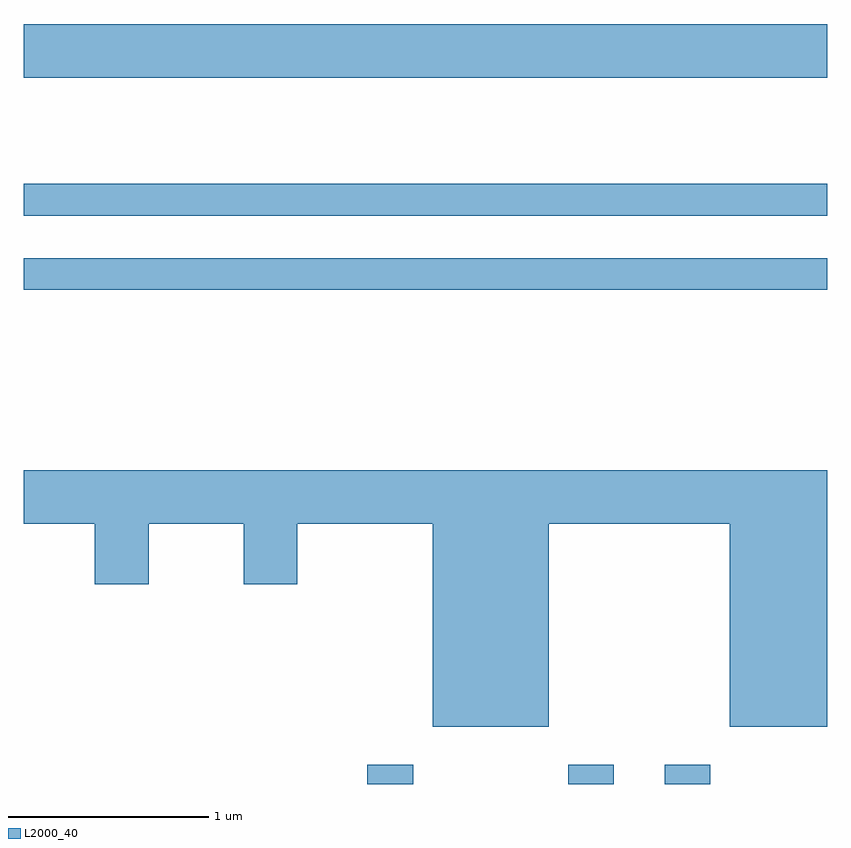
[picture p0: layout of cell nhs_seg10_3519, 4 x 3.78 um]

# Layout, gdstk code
import gdstk
lib = gdstk.Library(unit=1e-6, precision=1e-09)
def R(c, l, rs):  # rectangles x0, y0, x1, y1
    for r in rs: c.add(gdstk.rectangle(r[:2], r[2:], *l))
def P(c, l, *ps):  # polygons
    for p in ps: c.add(gdstk.Polygon(p, *l))
L2000_40 = (2000, 40)

nhs_seg10_3519 = lib.new_cell('nhs_seg10_3519')
R(nhs_seg10_3519, L2000_40, [(289.321,2212.522,289.549,2212.619), (290.321,2212.522,290.549,2212.619), (290.801,2212.522,291.029,2212.619), (287.611,2214.981,291.611,2215.139), (287.611,2215.351,291.611,2215.509), (287.611,2216.036,291.611,2216.304)])
P(nhs_seg10_3519, L2000_40, [(290.224,2213.816),(291.126,2213.816),(291.126,2212.806),(291.611,2212.806),(291.611,2214.084),(287.611,2214.084),(287.611,2213.816),(287.966,2213.816),(287.966,2213.516),(288.234,2213.516),(288.234,2213.816),(288.706,2213.816),(288.706,2213.516),(288.974,2213.516),(288.974,2213.816),(289.646,2213.816),(289.646,2212.806),(290.224,2212.806)])

lib.write_gds('nhs_seg10_3519.gds')
